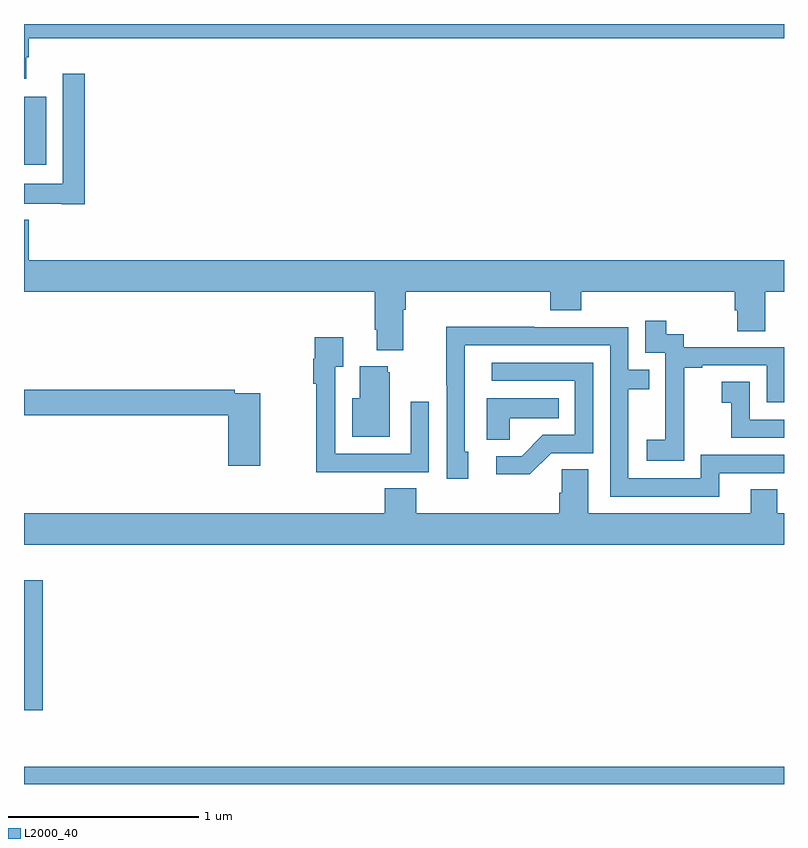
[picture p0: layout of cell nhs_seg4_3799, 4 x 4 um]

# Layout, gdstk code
import gdstk
lib = gdstk.Library(unit=1e-6, precision=1e-09)
def R(c, l, rs):  # rectangles x0, y0, x1, y1
    for r in rs: c.add(gdstk.rectangle(r[:2], r[2:], *l))
def P(c, l, *ps):  # polygons
    for p in ps: c.add(gdstk.Polygon(p, *l))
L2000_40 = (2000, 40)

nhs_seg4_3799 = lib.new_cell('nhs_seg4_3799')
R(nhs_seg4_3799, L2000_40, [(311,788.9,315,788.992), (311,789.288,311.099,789.973), (311,792.158,311.116,792.517)])
P(nhs_seg4_3799, L2000_40, [(311.011,792.726),(311.024,792.726),(311.024,792.824),(315,792.824),(315,792.9),(311,792.9),(311,792.612),(311.011,792.612)],
  [(311.321,792.637),(311.205,792.637),(311.205,792.058),(311,792.058),(311,791.954),(311.198,791.954),(311.198,791.952),(311.321,791.952)],
  [(312.997,791.396),(313.01,791.396),(313.01,791.492),(313.769,791.492),(313.769,791.393),(313.934,791.393),(313.934,791.492),(314.741,791.492),(314.741,791.394),(314.753,791.394),(314.753,791.284),(314.901,791.284),(314.901,791.492),(315,791.492),(315,791.656),(311.024,791.656),(311.024,791.869),(311,791.869),(311,791.492),(312.845,791.492),(312.845,791.29),(312.857,791.29),(312.857,791.183),(312.997,791.183)],
  [(314.475,790.807),(314.474,790.807),(314.474,791.091),(314.569,791.091),(314.569,791.103),(314.91,791.103),(314.91,790.908),(315,790.908),(315,791.199),(314.472,791.199),(314.472,791.268),(314.38,791.268),(314.38,791.338),(314.271,791.338),(314.271,791.169),(314.376,791.169),(314.376,790.94),(314.375,790.94),(314.375,790.711),(314.277,790.711),(314.277,790.601),(314.475,790.601)],
  [(314.659,790.536),(315,790.536),(315,790.632),(314.562,790.632),(314.562,790.509),(314.181,790.509),(314.181,790.978),(314.291,790.978),(314.291,791.079),(314.181,791.079),(314.181,791.304),(313.685,791.304),(313.685,791.306),(313.222,791.306),(313.222,790.999),(313.224,790.999),(313.224,790.506),(313.339,790.506),(313.339,790.65),(313.32,790.65),(313.32,791.208),(314.085,791.208),(314.085,790.413),(314.659,790.413)],
  [(312.815,790.542),(313.131,790.542),(313.131,790.912),(313.035,790.912),(313.035,790.638),(312.639,790.638),(312.639,791.095),(312.679,791.095),(312.679,791.251),(312.531,791.251),(312.531,791.138),(312.523,791.138),(312.523,791.006),(312.538,791.006),(312.538,790.541),(312.815,790.541)],
  [(313.776,790.641),(313.995,790.641),(313.995,791.118),(313.461,791.118),(313.461,791.022),(313.899,791.022),(313.899,790.737),(313.73,790.737),(313.619,790.626),(313.485,790.626),(313.485,790.529),(313.663,790.529)],
  [(312.925,791.067),(312.914,791.067),(312.914,791.098),(312.767,791.098),(312.767,790.93),(312.728,790.93),(312.728,790.727),(312.925,790.727)],
  [(315,790.818),(314.82,790.818),(314.82,791.017),(314.673,791.017),(314.673,790.907),(314.722,790.907),(314.722,790.722),(315,790.722)],
  [(312.244,790.956),(312.11,790.956),(312.11,790.976),(311,790.976),(311,790.84),(312.074,790.84),(312.074,790.575),(312.244,790.575)],
  [(313.557,790.826),(313.814,790.826),(313.814,790.93),(313.436,790.93),(313.436,790.711),(313.557,790.711)],
  [(315,790.324),(314.964,790.324),(314.964,790.451),(314.825,790.451),(314.825,790.324),(313.969,790.324),(313.969,790.556),(313.83,790.556),(313.83,790.433),(313.817,790.433),(313.817,790.324),(313.064,790.324),(313.064,790.457),(312.899,790.457),(312.899,790.324),(311,790.324),(311,790.16),(315,790.16)])

lib.write_gds('nhs_seg4_3799.gds')
